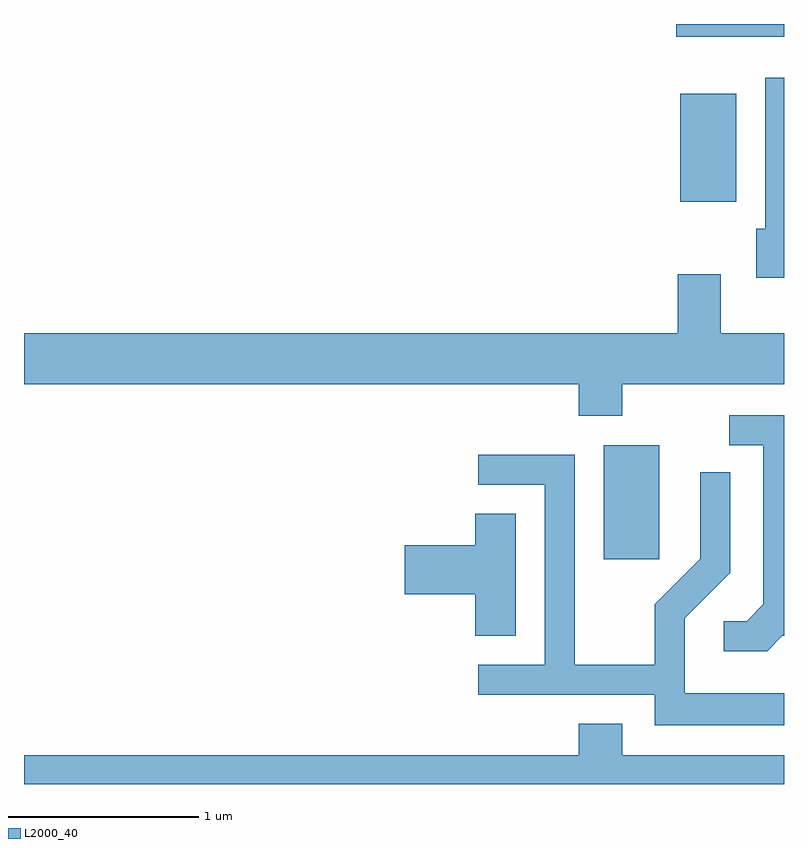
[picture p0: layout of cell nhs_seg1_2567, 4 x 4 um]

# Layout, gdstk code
import gdstk
lib = gdstk.Library(unit=1e-6, precision=1e-09)
def R(c, l, rs):  # rectangles x0, y0, x1, y1
    for r in rs: c.add(gdstk.rectangle(r[:2], r[2:], *l))
def P(c, l, *ps):  # polygons
    for p in ps: c.add(gdstk.Polygon(p, *l))
L2000_40 = (2000, 40)

nhs_seg1_2567 = lib.new_cell('nhs_seg1_2567')
R(nhs_seg1_2567, L2000_40, [(266.661,880.896,266.954,881.494), (267.066,882.776,267.359,883.344), (267.043,883.646,267.611,883.712)])
P(nhs_seg1_2567, L2000_40, [(267.611,883.429),(267.511,883.429),(267.511,882.634),(267.466,882.634),(267.466,882.376),(267.611,882.376)],
  [(266.759,881.816),(267.611,881.816),(267.611,882.084),(267.279,882.084),(267.279,882.394),(267.051,882.394),(267.051,882.084),(263.611,882.084),(263.611,881.816),(266.531,881.816),(266.531,881.651),(266.759,881.651)],
  [(267.602,880.491),(267.611,880.491),(267.611,881.654),(267.323,881.654),(267.323,881.496),(267.501,881.496),(267.501,880.657),(267.414,880.569),(267.293,880.569),(267.293,880.411),(267.522,880.411)],
  [(267.611,880.189),(267.089,880.189),(267.089,880.584),(267.329,880.824),(267.329,881.353),(267.171,881.353),(267.171,880.897),(266.931,880.657),(266.931,880.339),(266.509,880.339),(266.509,881.444),(266.003,881.444),(266.003,881.286),(266.351,881.286),(266.351,880.339),(266.003,880.339),(266.003,880.181),(266.931,880.181),(266.931,880.021),(267.611,880.021)],
  [(266.199,881.134),(265.986,881.134),(265.986,880.969),(265.616,880.969),(265.616,880.711),(265.986,880.711),(265.986,880.491),(266.199,880.491)],
  [(267.611,879.864),(266.759,879.864),(266.759,880.029),(266.531,880.029),(266.531,879.864),(263.611,879.864),(263.611,879.712),(267.611,879.712)])

lib.write_gds('nhs_seg1_2567.gds')
